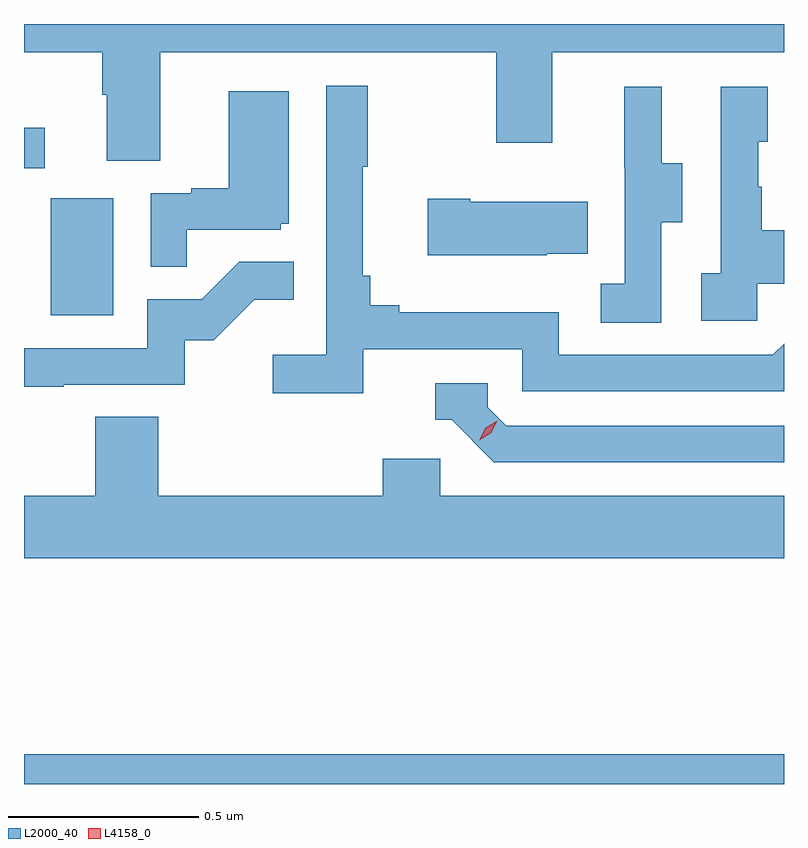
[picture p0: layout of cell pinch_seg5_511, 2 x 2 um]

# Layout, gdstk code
import gdstk
lib = gdstk.Library(unit=1e-6, precision=1e-09)
def R(c, l, rs):  # rectangles x0, y0, x1, y1
    for r in rs: c.add(gdstk.rectangle(r[:2], r[2:], *l))
def P(c, l, *ps):  # polygons
    for p in ps: c.add(gdstk.Polygon(p, *l))
L2000_40 = (2000, 40)
L4158_0 = (4158, 0)

pinch_seg5_511 = lib.new_cell('pinch_seg5_511')
R(pinch_seg5_511, L2000_40, [(901.623,836.186,903.623,836.264), (901.694,837.42,901.858,837.727), (901.623,837.807,901.678,837.913)])
P(pinch_seg5_511, L2000_40, [(901.981,838.112),(902.866,838.112),(902.866,837.873),(903.013,837.873),(903.013,838.112),(903.623,838.112),(903.623,838.186),(901.623,838.186),(901.623,838.112),(901.829,838.112),(901.829,838),(901.841,838),(901.841,837.826),(901.981,837.826)],
  [(902.516,837.33),(902.934,837.33),(902.934,837.219),(903.623,837.219),(903.623,837.344),(903.594,837.315),(903.03,837.315),(903.03,837.427),(902.611,837.427),(902.611,837.446),(902.534,837.446),(902.534,837.523),(902.515,837.523),(902.515,837.811),(902.527,837.811),(902.527,838.024),(902.418,838.024),(902.418,837.316),(902.277,837.316),(902.277,837.214),(902.516,837.214)],
  [(903.3,837.664),(903.355,837.664),(903.355,837.819),(903.301,837.819),(903.301,838.021),(903.203,838.021),(903.203,837.807),(903.204,837.807),(903.204,837.503),(903.141,837.503),(903.141,837.4),(903.3,837.4)],
  [(903.552,837.503),(903.623,837.503),(903.623,837.643),(903.565,837.643),(903.565,837.758),(903.555,837.758),(903.555,837.876),(903.58,837.876),(903.58,838.021),(903.456,838.021),(903.456,837.53),(903.405,837.53),(903.405,837.405),(903.552,837.405)],
  [(902.051,837.645),(902.298,837.645),(902.298,837.66),(902.32,837.66),(902.32,838.009),(902.162,838.009),(902.162,837.754),(902.063,837.754),(902.063,837.741),(901.956,837.741),(901.956,837.547),(902.051,837.547)],
  [(902.999,837.581),(903.107,837.581),(903.107,837.718),(902.797,837.718),(902.797,837.726),(902.685,837.726),(902.685,837.578),(902.999,837.578)],
  [(901.727,837.237),(902.046,837.237),(902.046,837.354),(902.122,837.354),(902.229,837.461),(902.333,837.461),(902.333,837.56),(902.189,837.56),(902.091,837.462),(901.947,837.462),(901.947,837.333),(901.623,837.333),(901.623,837.232),(901.727,837.232)],
  [(903.623,837.129),(902.892,837.129),(902.844,837.177),(902.844,837.24),(902.705,837.24),(902.705,837.144),(902.748,837.144),(902.859,837.033),(903.623,837.033)],
  [(903.623,836.944),(902.718,836.944),(902.718,837.042),(902.567,837.042),(902.567,836.944),(901.976,836.944),(901.976,837.152),(901.811,837.152),(901.811,836.944),(901.623,836.944),(901.623,836.78),(903.623,836.78)])
P(pinch_seg5_511, L4158_0, [(902.821,837.09),(902.821,837.09),(902.838,837.123),(902.869,837.142),(902.869,837.142),(902.869,837.142),(902.852,837.11),(902.821,837.09)])

lib.write_gds('pinch_seg5_511.gds')
